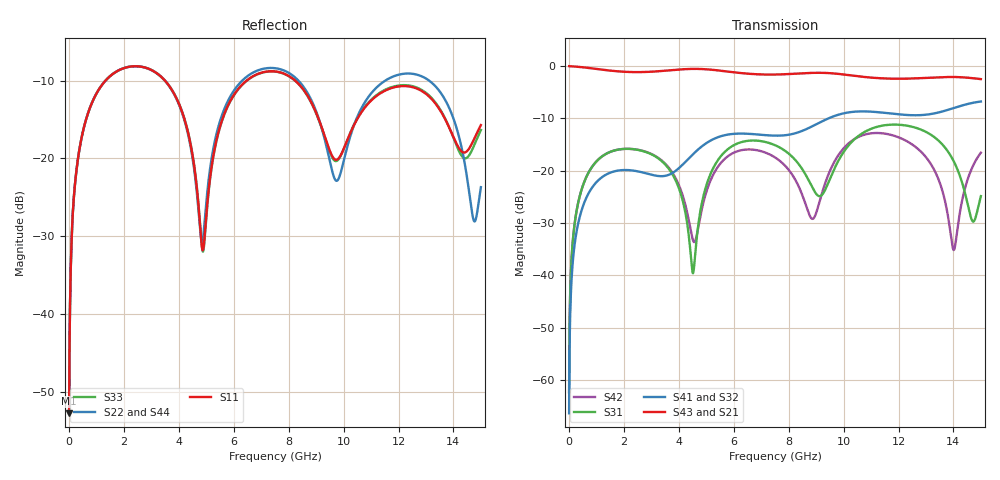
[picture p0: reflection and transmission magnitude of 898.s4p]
! Created with skrf 1.8.0 (http://scikit-rf.org).
# GHz S RI R 50.0
!freq ReS11 ImS11 ReS12 ImS12 ReS13 ImS13
! ReS14 ImS14
! ReS21 ImS21 ReS22 ImS22 ReS23 ImS23
! ReS24 ImS24
! ReS31 ImS31 ReS32 ImS32 ReS33 ImS33
! ReS34 ImS34
! ReS41 ImS41 ReS42 ImS42 ReS43 ImS43
! ReS44 ImS44
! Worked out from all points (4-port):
!   2499 points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, 5 MHz to 15 GHz, reference 50 ohm
!   strongest paths, dB at 5 MHz, 3.476 GHz, 7.19 GHz, 11.1 GHz, 15 GHz:
!     S43: 0.0, -0.9, -1.6, -2.2, -2.5
!     S21: 0.0, -0.9, -1.6, -2.2, -2.5
!     S41: -66.4, -21.0, -13.2, -8.7, -6.8
!     S32: -66.4, -21.0, -13.2, -8.8, -6.7
!     S31: -62.4, -18.7, -14.6, -11.8, -24.9
!     S42: -62.4, -18.5, -16.6, -12.8, -16.6
!   lowest |S11| = -52.7 dB at 5 MHz (marker M1), VSWR 1.00, Z = 50.2 + j0.14 ohm
!   |S11| at or under -10 dB: start of sweep to 1.333 GHz; 3.493 GHz to 6.471 GHz (2.979 GHz wide, 59.8 % of centre); 8.235 GHz to end of sweep
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0.005  0.00184 0.0014  0.9981 -0.00358  9.4e-05 0.000753  -9.11e-05 -0.000469
       0.9981 -0.00358  0.00184 0.0014  -9.11e-05 -0.000469  9.4e-05 0.000753
       9.4e-05 0.000753  -9.11e-05 -0.000469  0.00184 0.0014  0.9981 -0.00358
       -9.11e-05 -0.000469  9.4e-05 0.000753  0.9981 -0.00358  0.00184 0.0014
0.3126303  0.0293 0.0908  0.9598 -0.2219  0.014 0.0441  -0.0116 -0.0269
           0.9598 -0.2219  0.0293 0.0908  -0.0116 -0.0269  0.014 0.0441
           0.014 0.0441  -0.0116 -0.0269  0.0293 0.0908  0.9598 -0.2219
           -0.0116 -0.0269  0.014 0.0441  0.9598 -0.2219  0.0293 0.0908
1.519383  0.2985 0.1628  0.4821 -0.7646  0.1419 0.054  -0.0959 0.0055
          0.4821 -0.7646  0.2986 0.1627  -0.0958 0.00544  0.1421 0.0535
          0.1419 0.054  -0.0958 0.00544  0.2986 0.1628  0.4821 -0.7646
          -0.0959 0.0055  0.1421 0.0535  0.4821 -0.7646  0.2986 0.1627
4.514381  0.0458 -0.0897  -0.8946 -0.2894  0.0104 1.41e-05  -0.0392 0.138
          -0.8946 -0.2894  0.0469 -0.0844  -0.0399 0.1377  -0.0197 -0.00907
          0.0104 1.41e-05  -0.0399 0.1377  0.0458 -0.0913  -0.8944 -0.2896
          -0.0392 0.138  -0.0197 -0.00907  -0.8944 -0.2896  0.048 -0.0857
7.353064  0.3625 0.0152  -0.0926 0.8238  0.1475 -0.1058  0.2134 -0.0384
          -0.0926 0.8238  0.3808 -0.00653  0.2133 -0.0368  0.1347 -0.0415
          0.1475 -0.1058  0.2133 -0.0368  0.3614 0.0146  -0.0915 0.8244
          0.2134 -0.0384  0.1347 -0.0415  -0.0915 0.8244  0.3794 -0.00739
10.06669  0.115 0.0414  0.8265 -0.0407  0.0593 0.148  -0.0423 -0.3537
          0.8265 -0.0407  0.0928 0.0524  -0.0389 -0.3542  0.0361 0.1668
          0.0593 0.148  -0.0389 -0.3542  0.1143 0.0439  0.8261 -0.0442
          -0.0423 -0.3537  0.0361 0.1668  0.8261 -0.0442  0.0944 0.0535
15  0.1437 0.0784  -0.7495 -0.0297  0.0231 0.0522  0.0104 0.4582
    -0.7495 -0.0297  0.0501 0.042  0.00248 0.4598  0.0824 0.1236
    0.0231 0.0522  0.00248 0.4598  0.1326 0.0747  -0.7503 -0.0224
    0.0104 0.4582  0.0824 0.1236  -0.7503 -0.0224  0.0619 0.0372
